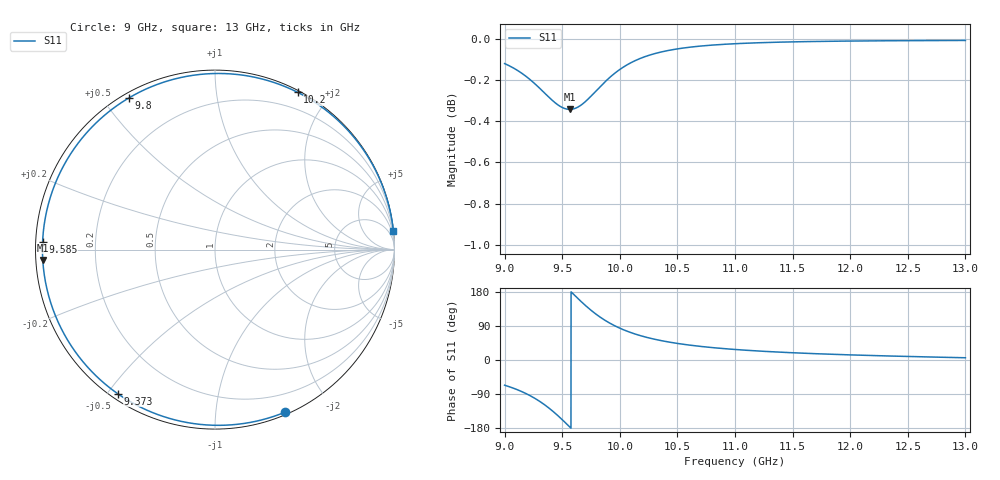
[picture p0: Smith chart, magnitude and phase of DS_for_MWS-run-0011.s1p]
! TOUCHSTONE file generated by CST DESIGN STUDIO
! Date and time: Tue Feb  4 13:45:22 2025
! Project name: C:\Work\MatlabApps\UnitCellOptimizationMatlab\CST\unitcell.cst
! Tree item: Tasks\Sweep1\SPara1\S-Parameters
! Header version: 2024
! Port assignment regex: !\s*Touchstone port\s*([0-9]+)\s*=\s*(CST MWS port|CST DES external port|CST DES block port)\s*(.+)\s* \(\"(.*)\"\)(\s*mode\s*([0-9]+))?.*
! Touchstone port assignment:
! Touchstone port 1 = CST DES external port 1 ("")
# GHz S MA R 50
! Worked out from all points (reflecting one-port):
!   4001 points, 9 GHz to 13 GHz, reference 50 ohm
!   lowest |S11| = -0.3 dB at 9.565 GHz (marker M1), VSWR 50.81, Z = 0.985 - j1.5 ohm
!   phase of S11 starts at -67 deg and turns -288 deg over the sweep
!   S11 on the Smith chart (normalised r, x): 9 GHz: 0.02, -1.52; 9.373 GHz: 0.02, -0.53; 9.585 GHz: 0.02, +0.02; 9.8 GHz: 0.02, +0.58; 10.2 GHz: 0.02, +1.66; 13 GHz: 0, +19
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9  0.9864 -66.5
9.043  0.9851 -70.8
9.11  0.9827 -78.4
9.225  0.9774 -94.7
9.303  0.9729 -108.9
9.373  0.9687 -124.0
9.435  0.9652 -139.5
9.5  0.9624 -157.5
9.533  0.9617 -167.1
9.565  0.9614 -176.6
9.585  0.9615 177.5
9.64  0.9628 161.2
9.7  0.9655 144.3
9.75  0.9685 131.3
9.8  0.9718 119.5
9.843  0.9746 110.3
9.89  0.9774 101.3
10  0.9831 84.0
10.097  0.9869 72.2
10.202  0.9898 62.3
10.339  0.9925 52.4
10.5  0.9945 43.7
10.721  0.9962 35.2
11  0.9974 27.8
11.5  0.9984 19.1
12  0.9989 13.5
12.5  0.9991 9.3
13  0.9992 5.9
